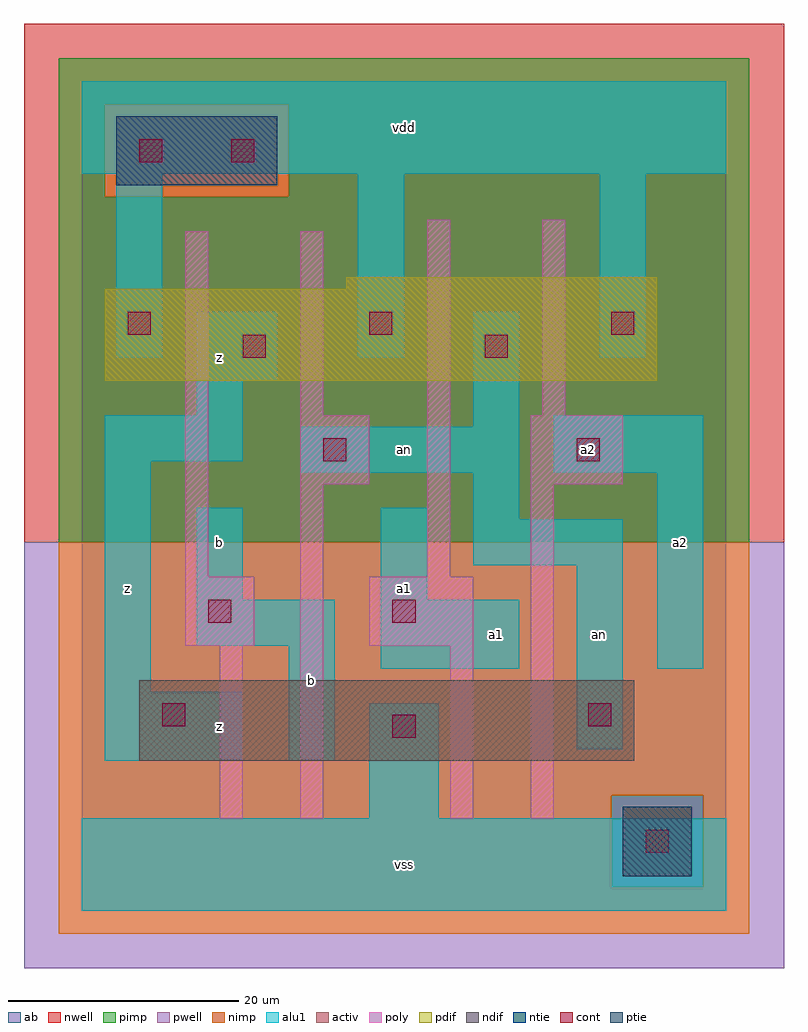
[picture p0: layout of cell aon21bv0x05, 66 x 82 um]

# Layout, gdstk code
import gdstk
lib = gdstk.Library(unit=1e-6, precision=1e-09)
def R(c, l, rs):  # rectangles x0, y0, x1, y1
    for r in rs: c.add(gdstk.rectangle(r[:2], r[2:], *l))
def A(c, l, x, y, w, h, nx, ny, dx, dy):  # array of equal rectangles
    R(c, l, [(x+i*dx, y+j*dy, x+i*dx+w, y+j*dy+h) for i in range(nx) for j in range(ny)])
ndif = (3, 0)
pdif = (4, 0)
ntie = (5, 0)
ptie = (6, 0)
cont = (25, 0)
pwell = (41, 0)
nwell = (42, 0)
activ = (43, 0)
pimp = (44, 0)
nimp = (45, 0)
poly = (46, 0)
alu1 = (49, 0)
ab = (63, 0)

aon21bv0x05 = lib.new_cell('aon21bv0x05')
R(aon21bv0x05, ndif, [(5,13,48,20)])
R(aon21bv0x05, pdif, [(2,46,50,54), (23,54,50,55)])
R(aon21bv0x05, ntie, [(3,63,17,69)])
R(aon21bv0x05, ptie, [(47,3,53,9)])
A(aon21bv0x05, cont, 4, 50, 2, 2, 3, 1, 21, 0)
R(aon21bv0x05, cont, [(49,5,51,7), (27,15,29,17), (7,16,9,18), (44,16,46,18), (11,25,13,27), (27,25,29,27), (21,39,23,41), (43,39,45,41), (14,48,16,50), (35,48,37,50), (5,65,7,67), (13,65,15,67)])
R(aon21bv0x05, pwell, [(-5,-5,61,32)])
R(aon21bv0x05, nwell, [(-5,32,61,77)])
R(aon21bv0x05, activ, [(47,3,53,9), (5,13,48,20), (2,46,50,54), (23,54,50,55), (3,63,17,69)])
R(aon21bv0x05, pimp, [(46,2,54,10), (-2,32,58,62), (-2,62,2,70), (18,62,58,70), (-2,70,58,74)])
R(aon21bv0x05, nimp, [(-2,-2,58,2), (-2,2,46,10), (54,2,58,10), (-2,10,58,32), (2,62,18,70)])
R(aon21bv0x05, poly, [(12,8,14,23), (19,8,21,37), (32,8,34,23), (39,8,41,37), (9,23,15,29), (25,23,34,29), (9,29,11,59), (30,29,32,60), (19,37,25,43), (39,37,47,43), (19,43,21,59), (40,43,42,60)])
A(aon21bv0x05, alu1, 3, 48, 4, 16, 3, 1, 21, 0)
R(aon21bv0x05, alu1, [(0,0,56,8), (25,8,31,18), (2,13,14,19), (18,13,22,23), (43,14,47,30), (2,19,6,39), (26,21,38,27), (50,21,54,38), (10,23,22,27), (10,27,14,35), (26,27,30,35), (34,30,47,34), (34,34,38,38), (19,38,38,42), (41,38,54,43), (2,39,14,43), (34,42,38,52), (10,43,14,46), (10,46,17,52), (0,64,56,72)])
R(aon21bv0x05, ab, [(0,0,56,72)])
aon21bv0x05.add(gdstk.Label('an', (45,24), layer=49, texttype=0))
aon21bv0x05.add(gdstk.Label('an', (28,40), layer=49, texttype=0))
aon21bv0x05.add(gdstk.Label('z', (4,28), layer=49, texttype=0))
aon21bv0x05.add(gdstk.Label('b', (20,20), layer=49, texttype=0))
aon21bv0x05.add(gdstk.Label('z', (12,16), layer=49, texttype=0))
aon21bv0x05.add(gdstk.Label('b', (12,32), layer=49, texttype=0))
aon21bv0x05.add(gdstk.Label('z', (12,48), layer=49, texttype=0))
aon21bv0x05.add(gdstk.Label('vss', (28,4), layer=49, texttype=0))
aon21bv0x05.add(gdstk.Label('a1', (28,28), layer=49, texttype=0))
aon21bv0x05.add(gdstk.Label('a1', (36,24), layer=49, texttype=0))
aon21bv0x05.add(gdstk.Label('vdd', (28,68), layer=49, texttype=0))
aon21bv0x05.add(gdstk.Label('a2', (52,32), layer=49, texttype=0))
aon21bv0x05.add(gdstk.Label('a2', (44,40), layer=49, texttype=0))

lib.write_gds('aon21bv0x05.gds')
